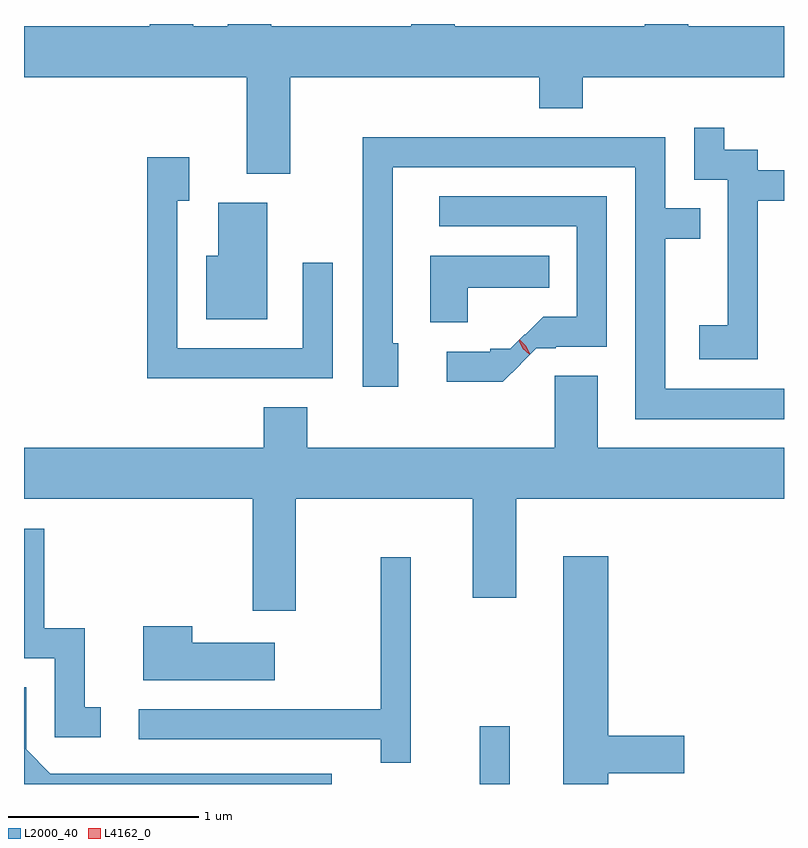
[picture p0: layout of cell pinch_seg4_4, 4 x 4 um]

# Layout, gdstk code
import gdstk
lib = gdstk.Library(unit=1e-6, precision=1e-09)
def R(c, l, rs):  # rectangles x0, y0, x1, y1
    for r in rs: c.add(gdstk.rectangle(r[:2], r[2:], *l))
def P(c, l, *ps):  # polygons
    for p in ps: c.add(gdstk.Polygon(p, *l))
L2000_40 = (2000, 40)
L4162_0 = (4162, 0)

pinch_seg4_4 = lib.new_cell('pinch_seg4_4')
R(pinch_seg4_4, L2000_40, [(857.876,1319.875,858.034,1320.178)])
P(pinch_seg4_4, L2000_40, [(856.879,1323.596),(858.191,1323.596),(858.191,1323.431),(858.419,1323.431),(858.419,1323.596),(859.478,1323.596),(859.478,1323.864),(858.974,1323.864),(858.974,1323.875),(858.746,1323.875),(858.746,1323.864),(857.744,1323.864),(857.744,1323.875),(857.516,1323.875),(857.516,1323.864),(856.779,1323.864),(856.779,1323.875),(856.551,1323.875),(856.551,1323.864),(856.369,1323.864),(856.369,1323.875),(856.141,1323.875),(856.141,1323.864),(855.478,1323.864),(855.478,1323.596),(856.651,1323.596),(856.651,1323.086),(856.879,1323.086)],
  [(859.339,1322.946),(859.478,1322.946),(859.478,1323.104),(859.339,1323.104),(859.339,1323.214),(859.164,1323.214),(859.164,1323.328),(859.006,1323.328),(859.006,1323.056),(859.181,1323.056),(859.181,1322.289),(859.031,1322.289),(859.031,1322.111),(859.339,1322.111)],
  [(859.478,1321.954),(858.854,1321.954),(858.854,1322.746),(859.038,1322.746),(859.038,1322.904),(858.854,1322.904),(858.854,1323.279),(857.261,1323.279),(857.261,1321.966),(857.449,1321.966),(857.449,1322.194),(857.419,1322.194),(857.419,1323.121),(858.696,1323.121),(858.696,1321.796),(859.478,1321.796)],
  [(857.104,1322.618),(856.946,1322.618),(856.946,1322.169),(856.284,1322.169),(856.284,1322.946),(856.349,1322.946),(856.349,1323.174),(856.126,1323.174),(856.126,1322.011),(857.104,1322.011)],
  [(858.092,1322.084),(858.091,1322.085),(858.175,1322.169),(858.277,1322.169),(858.277,1322.176),(858.544,1322.176),(858.544,1322.969),(857.663,1322.969),(857.663,1322.811),(858.386,1322.811),(858.386,1322.334),(858.212,1322.334),(858.117,1322.24),(858.114,1322.243),(858.036,1322.165),(857.931,1322.165),(857.931,1322.149),(857.703,1322.149),(857.703,1321.991),(857.999,1321.991)],
  [(856.759,1322.934),(856.501,1322.934),(856.501,1322.654),(856.436,1322.654),(856.436,1322.321),(856.759,1322.321)],
  [(857.814,1322.486),(858.243,1322.486),(858.243,1322.654),(857.616,1322.654),(857.616,1322.306),(857.814,1322.306)],
  [(856.909,1321.376),(857.841,1321.376),(857.841,1320.856),(858.069,1320.856),(858.069,1321.376),(859.478,1321.376),(859.478,1321.644),(858.499,1321.644),(858.499,1322.024),(858.271,1322.024),(858.271,1321.644),(856.969,1321.644),(856.969,1321.859),(856.741,1321.859),(856.741,1321.644),(855.478,1321.644),(855.478,1321.376),(856.681,1321.376),(856.681,1320.786),(856.909,1320.786)],
  [(855.883,1320.279),(855.799,1320.279),(855.799,1320.694),(855.584,1320.694),(855.584,1321.219),(855.478,1321.219),(855.478,1320.536),(855.641,1320.536),(855.641,1320.121),(855.883,1320.121)],
  [(858.554,1319.931),(858.954,1319.931),(858.954,1320.129),(858.554,1320.129),(858.554,1321.074),(858.316,1321.074),(858.316,1319.875),(858.554,1319.875)],
  [(857.514,1321.068),(857.356,1321.068),(857.356,1320.269),(856.083,1320.269),(856.083,1320.111),(857.356,1320.111),(857.356,1319.988),(857.514,1319.988)],
  [(856.799,1320.619),(856.364,1320.619),(856.364,1320.704),(856.106,1320.704),(856.106,1320.421),(856.799,1320.421)],
  [(857.099,1319.929),(855.617,1319.929),(855.489,1320.057),(855.489,1320.384),(855.478,1320.384),(855.478,1319.875),(857.099,1319.875)])
P(pinch_seg4_4, L4162_0, [(858.136,1322.138),(858.103,1322.165),(858.085,1322.204),(858.085,1322.204),(858.086,1322.204),(858.119,1322.177),(858.137,1322.139),(858.137,1322.138)],
  [(858.142,1322.137),(858.106,1322.168),(858.085,1322.211),(858.085,1322.212),(858.086,1322.212),(858.122,1322.18),(858.143,1322.138),(858.143,1322.137)])

lib.write_gds('pinch_seg4_4.gds')
